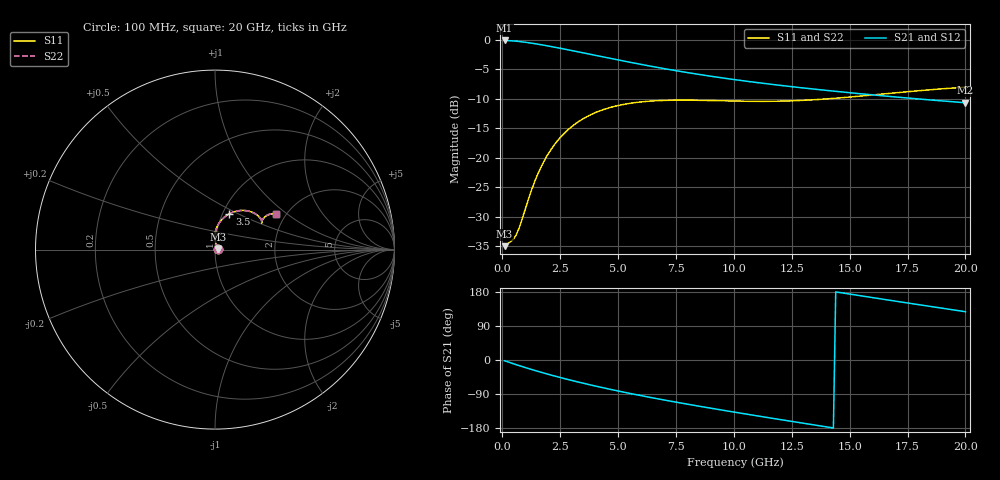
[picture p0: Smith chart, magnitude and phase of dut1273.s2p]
! Touchstone file exported from HFSS 2024.1.0
!  File:  C:/UserFiles/LocalFiles/RDL_TSV_Batchsim/temp_RDL_TSV_1273_1780275486.aedt
!  Generated:  09:10:35 AM Jun  1, 2026
!  Design:  RDL_TSV
!  Project:  temp_RDL_TSV_1273_1780275486
!  Setup:  Setup1
!  Solution:  Sweep
! Variables:
!  dtsv = 14.19um
!  hbump = 3um
!  htsv = 64.35um
!  ldown = 270.6um
!  lrdl = 644.56um
!  p = 40
!  p1 = 50.78um
!  rhole = 10um
!  subl = 3390.04um
!  t = 450um
!  tdown = 2.98um
!  trdl = 4.88um
!  viad = 10um
!  wdown = 15.51um
!  wrdl = 16.53um
!  xbump = 18um
# GHz S MA R 50.000000
! Terminal data exported
! Port[1] = TM1_1_T1
! Port[2] = TM1_4_T1
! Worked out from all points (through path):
!   200 points, 100 MHz to 20 GHz, reference 50 ohm
!   highest |S21| = -0.16 dB at 100 MHz (marker M1); lowest = -10.7 dB at 20 GHz (marker M2)
!   group delay of S21, straight-line fit = 30.4 ps
!   lowest |S11| = -35.0 dB at 100 MHz (marker M3), VSWR 1.04, Z = 51.8 + j0.329 ohm
!   |S11| at or under -10 dB: start of sweep to 14.18 GHz
!   |S22| runs from -35.0 to -8.1 dB; largest |S21 - S12| = 1.2e-14
!   S11 on the Smith chart (normalised r, x): 100 MHz: 1.04, +0.01; 3.5 GHz: 1.07, +0.45; 20 GHz: 1.78, +0.84
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0.1  0.01785 10.3  0.9819 -2.1  0.9819 -2.1  0.01785 10.3
! Gamma 0 0 0 0
! Port Impedance 50 0 50 0
0.4  0.01977 35.8  0.975 -8.3  0.975 -8.3  0.01977 35.8
0.6  0.02226 54.6  0.9676 -12.3  0.9676 -12.3  0.02226 54.6
0.8  0.02799 71.4  0.9585 -16.2  0.9585 -16.2  0.02799 71.4
1.4  0.06283 90.2  0.9227 -27.5  0.9227 -27.5  0.06282 90.2
1.7  0.08546 90.0  0.9019 -32.9  0.9019 -32.9  0.08544 90.0
2  0.1091 87.6  0.8801 -38.0  0.8801 -38.0  0.1091 87.5
2.3  0.1327 84.1  0.858 -43.0  0.858 -43.0  0.1326 84.1
2.7  0.1626 78.9  0.8284 -49.4  0.8284 -49.4  0.1626 78.8
3.5  0.2143 68.3  0.7706 -61.4  0.7706 -61.4  0.2141 68.3
4.2  0.2487 60.0  0.7227 -71.2  0.7227 -71.2  0.2485 60.0
5.1  0.2791 51.0  0.666 -83.1  0.666 -83.1  0.2788 50.9
5.9  0.2953 44.4  0.6207 -92.9  0.6207 -92.9  0.2949 44.4
6.8  0.3044 38.7  0.5757 -103.4  0.5757 -103.4  0.304 38.7
8.4  0.3063 32.2  0.5098 -120.9  0.5098 -120.9  0.3058 32.2
10.1  0.3013 29.5  0.4558 -138.4  0.4558 -138.4  0.3007 29.6
11.7  0.3003 29.9  0.4159 -154.3  0.4159 -154.3  0.2997 30.0
13.4  0.3088 31.6  0.3817 -170.8  0.3817 -170.8  0.3083 31.8
15  0.3259 33.0  0.3547 173.9  0.3547 173.9  0.3256 33.2
16.7  0.3499 33.2  0.3302 157.9  0.3302 157.9  0.3498 33.4
18.3  0.3733 32.2  0.3102 143.0  0.3102 143.0  0.3734 32.5
20  0.3951 30.3  0.2917 127.4  0.2917 127.4  0.3954 30.5
